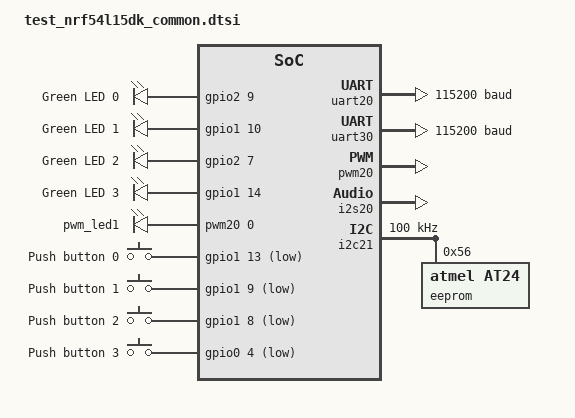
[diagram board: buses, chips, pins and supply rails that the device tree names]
/*
 * Copyright (c) 2024 Nordic Semiconductor ASA
 *
 * SPDX-License-Identifier: Apache-2.0
 */

#include "test_nrf54l15dk-pinctrl.dtsi"

/ {
	leds {
		compatible = "gpio-leds";
		led0: led_0 {
			gpios = <&gpio2 9 GPIO_ACTIVE_HIGH>;
			label = "Green LED 0";
		};
		led1: led_1 {
			gpios = <&gpio1 10 GPIO_ACTIVE_HIGH>;
			label = "Green LED 1";
		};
		led2: led_2 {
			gpios = <&gpio2 7 GPIO_ACTIVE_HIGH>;
			label = "Green LED 2";
		};
		led3: led_3 {
			gpios = <&gpio1 14 GPIO_ACTIVE_HIGH>;
			label = "Green LED 3";
		};
		// led4: led_4 {
		// 	gpios = <&gpio1 11 GPIO_ACTIVE_HIGH>;
		// 	label = "Green LED 4";
		// };
	};

	pwmleds {
		compatible = "pwm-leds";
		/*
		 * PWM signal can be exposed on GPIO pin only within same domain.
		 * There is only one domain which contains both PWM and GPIO:
		 * PWM20/21/22 and GPIO Port P1.
		 * Only LEDs connected to P1 can work with PWM, for example LED1.
		 */
		pwm_led1: pwm_led_1 {
			pwms = <&pwm20 0 PWM_MSEC(20) PWM_POLARITY_NORMAL>;
		};
	};

	buttons {
		compatible = "gpio-keys";
		button0: button_0 {
			gpios = <&gpio1 13 (GPIO_PULL_UP | GPIO_ACTIVE_LOW)>;
			label = "Push button 0";
			zephyr,code = <INPUT_KEY_0>;
		};
		button1: button_1 {
			gpios = <&gpio1 9 (GPIO_PULL_UP | GPIO_ACTIVE_LOW)>;
			label = "Push button 1";
			zephyr,code = <INPUT_KEY_1>;
		};
		button2: button_2 {
			gpios = <&gpio1 8 (GPIO_PULL_UP | GPIO_ACTIVE_LOW)>;
			label = "Push button 2";
			zephyr,code = <INPUT_KEY_2>;
		};
		button3: button_3 {
			gpios = <&gpio0 4 (GPIO_PULL_UP | GPIO_ACTIVE_LOW)>;
			label = "Push button 3";
			zephyr,code = <INPUT_KEY_3>;
		};
	};



	aliases {
		led0 = &led0;
		led1 = &led1;
		led2 = &led2;
		led3 = &led3;
		// led4 = &led4;		
		pwm-led0 = &pwm_led1;
		sw0 = &button0;
		sw1 = &button1;
		sw2 = &button2;
		sw3 = &button3;
		watchdog0 = &wdt31;
	};
};

&uart20 {
	current-speed = <115200>;
	pinctrl-0 = <&uart20_default>;
	pinctrl-1 = <&uart20_sleep>;
	pinctrl-names = "default", "sleep";
};

&uart30 {
	current-speed = <115200>;
	pinctrl-0 = <&uart30_default>;
	pinctrl-1 = <&uart30_sleep>;
	pinctrl-names = "default", "sleep";
};

&pwm20 {
	status = "okay";
	pinctrl-0 = <&pwm20_default>;
	pinctrl-1 = <&pwm20_sleep>;
	pinctrl-names = "default", "sleep";
};

&i2s20 {
	status = "okay";
	pinctrl-0 = <&i2s0_default_alt>;
	pinctrl-names = "default";
	clock-source = "PCLK32M";
};


&i2c21 {
	compatible = "nordic,nrf-twim";
	status = "okay";
	pinctrl-0 = <&i2c21_default>;
	pinctrl-1 = <&i2c21_sleep>;
	pinctrl-names = "default", "sleep";
	#address-cells = <1>;
	#size-cells = <0>;
	clock-frequency = <100000>;

	eeprom@56 {
	  compatible = "atmel,at24";
	  reg = <0x56>;
	  size = <DT_SIZE_K(32)>;
	  pagesize = <64>;
	  address-width = <16>;
	  timeout = <5>;
   };
};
